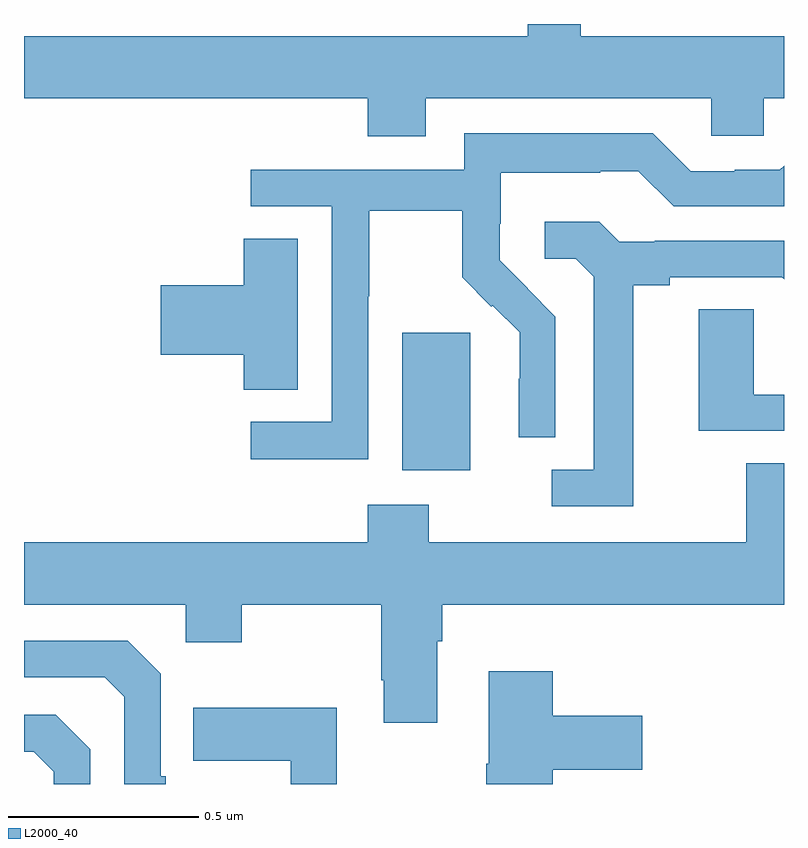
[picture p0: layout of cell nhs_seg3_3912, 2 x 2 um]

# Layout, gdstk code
import gdstk
lib = gdstk.Library(unit=1e-6, precision=1e-09)
def R(c, l, rs):  # rectangles x0, y0, x1, y1
    for r in rs: c.add(gdstk.rectangle(r[:2], r[2:], *l))
def P(c, l, *ps):  # polygons
    for p in ps: c.add(gdstk.Polygon(p, *l))
L2000_40 = (2000, 40)

nhs_seg3_3912 = lib.new_cell('nhs_seg3_3912')
R(nhs_seg3_3912, L2000_40, [(159.995,745.226,160.174,745.587)])
P(nhs_seg3_3912, L2000_40, [(160.057,746.204),(160.809,746.204),(160.809,746.106),(160.947,746.106),(160.947,746.204),(161,746.204),(161,746.368),(160.465,746.368),(160.465,746.4),(160.325,746.4),(160.325,746.368),(159,746.368),(159,746.204),(159.905,746.204),(159.905,746.105),(160.057,746.105)],
  [(159.906,745.684),(159.909,745.684),(159.909,745.908),(160.153,745.908),(160.153,745.733),(160.23,745.656),(160.233,745.659),(160.304,745.589),(160.304,745.466),(160.302,745.466),(160.302,745.312),(160.398,745.312),(160.398,745.63),(160.325,745.703),(160.326,745.704),(160.252,745.778),(160.252,745.875),(160.254,745.875),(160.254,746.009),(160.517,746.009),(160.517,746.013),(160.617,746.013),(160.71,745.92),(161,745.92),(161,746.027),(160.989,746.016),(160.871,746.016),(160.871,746.013),(160.755,746.013),(160.655,746.113),(160.158,746.113),(160.158,746.016),(159.597,746.016),(159.597,745.92),(159.81,745.92),(159.81,745.353),(159.597,745.353),(159.597,745.255),(159.906,745.255)],
  [(160.603,745.712),(160.699,745.712),(160.699,745.734),(160.994,745.734),(161,745.728),(161,745.83),(160.66,745.83),(160.66,745.827),(160.566,745.827),(160.514,745.879),(160.371,745.879),(160.371,745.782),(160.452,745.782),(160.499,745.735),(160.499,745.227),(160.389,745.227),(160.389,745.131),(160.603,745.131)],
  [(159.721,745.835),(159.578,745.835),(159.578,745.712),(159.36,745.712),(159.36,745.529),(159.578,745.529),(159.578,745.438),(159.721,745.438)],
  [(161,745.425),(160.92,745.425),(160.92,745.649),(160.775,745.649),(160.775,745.329),(161,745.329)],
  [(160.087,744.776),(160.1,744.776),(160.1,744.872),(161,744.872),(161,745.244),(160.901,745.244),(160.901,745.036),(160.065,745.036),(160.065,745.135),(159.905,745.135),(159.905,745.036),(159,745.036),(159,744.872),(159.426,744.872),(159.426,744.773),(159.573,744.773),(159.573,744.872),(159.94,744.872),(159.94,744.673),(159.947,744.673),(159.947,744.561),(160.087,744.561)],
  [(159.373,744.421),(159.36,744.421),(159.36,744.69),(159.273,744.777),(159,744.777),(159,744.681),(159.213,744.681),(159.264,744.63),(159.264,744.4),(159.373,744.4)],
  [(160.391,744.437),(160.627,744.437),(160.627,744.579),(160.391,744.579),(160.391,744.697),(160.223,744.697),(160.223,744.453),(160.216,744.453),(160.216,744.4),(160.391,744.4)],
  [(159.823,744.601),(159.445,744.601),(159.445,744.461),(159.702,744.461),(159.702,744.4),(159.823,744.4)],
  [(159.174,744.492),(159.084,744.582),(159,744.582),(159,744.485),(159.025,744.485),(159.078,744.432),(159.078,744.4),(159.174,744.4)])

lib.write_gds('nhs_seg3_3912.gds')
